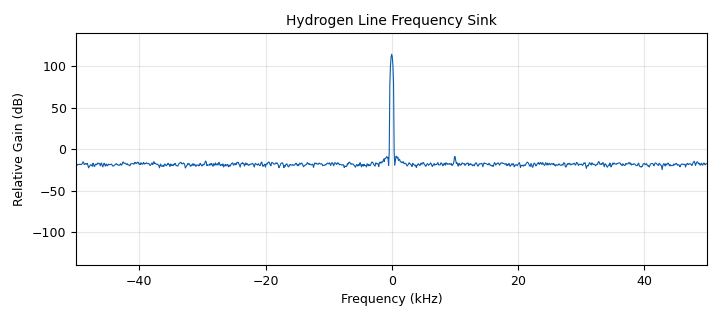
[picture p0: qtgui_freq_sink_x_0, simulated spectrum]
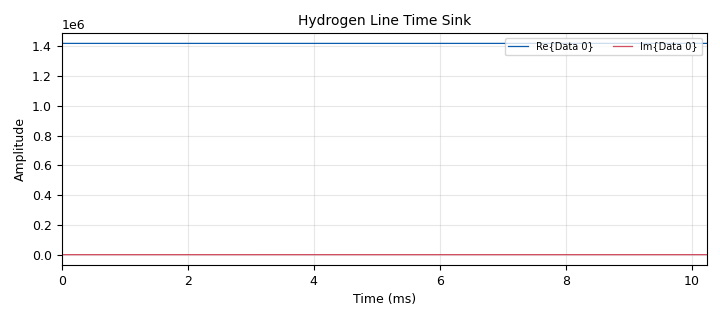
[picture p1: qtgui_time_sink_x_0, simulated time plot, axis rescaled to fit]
options:
  parameters:
    generate_options: qt_gui
    id: first_flowgraph
    output_language: python
    title: Not titled yet
  states: {}

blocks:
- name: samp_rate
  id: variable
  parameters:
    value: 100e3
  states: {}
- name: analog_noise_source_x_0
  id: analog_noise_source_x
  parameters:
    amp: '10'
    noise_type: analog.GR_GAUSSIAN
    seed: '0'
    type: complex
  states: {}
- name: analog_sig_source_x_0
  id: analog_sig_source_x
  parameters:
    amp: '1'
    freq: 10e3
    offset: 1420e3
    phase: '0'
    samp_rate: samp_rate
    type: complex
    waveform: analog.GR_SIN_WAVE
  states: {}
- name: blocks_add_xx_0
  id: blocks_add_xx
  parameters:
    type: complex
  states: {}
- name: blocks_throttle2_0
  id: blocks_throttle2
  parameters:
    samples_per_second: samp_rate
    type: complex
  states: {}
- name: qtgui_freq_sink_x_0
  id: qtgui_freq_sink_x
  parameters:
    average: '0.05'
    bw: samp_rate
    fc: '0'
    fftsize: '1024'
    name: '"Hydrogen Line Frequency Sink"'
    type: complex
    ymax: '140'
  states: {}
- name: qtgui_time_sink_x_0
  id: qtgui_time_sink_x
  parameters:
    name: '"Hydrogen Line Time Sink"'
    size: '1024'
    srate: samp_rate
    type: complex
  states: {}

connections:
- [analog_noise_source_x_0, '0', blocks_add_xx_0, '1']
- [analog_sig_source_x_0, '0', blocks_throttle2_0, '0']
- [blocks_add_xx_0, '0', qtgui_freq_sink_x_0, '0']
- [blocks_add_xx_0, '0', qtgui_time_sink_x_0, '0']
- [blocks_throttle2_0, '0', blocks_add_xx_0, '0']

metadata:
  file_format: 1
  grc_version: 3.10.9.2
